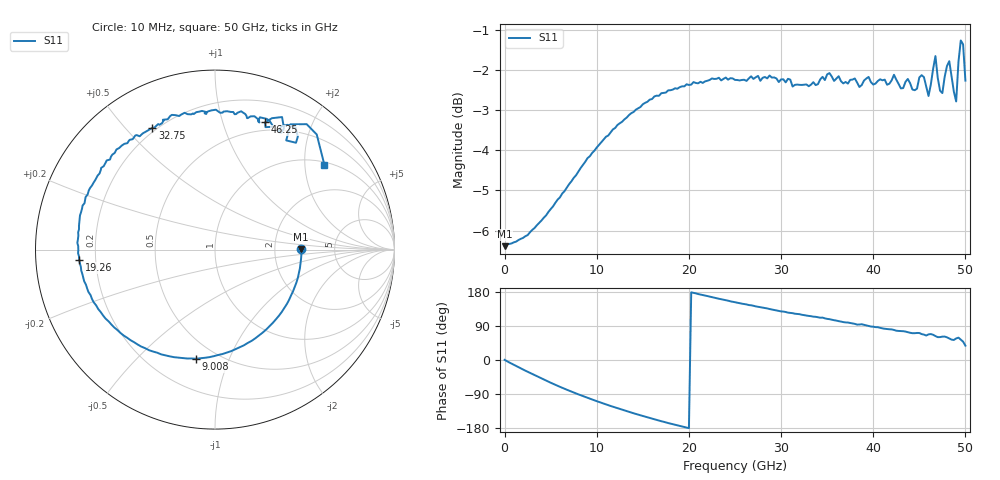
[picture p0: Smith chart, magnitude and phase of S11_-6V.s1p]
!Agilent Technologies,N5227A,US51270434,A.10.00.00
!Agilent N5227A: A.10.00.00
!Date: Thursday, February 26, 2026 12:32:49
!Correction: S11(Full 1 Port(1))
!S1P File: Measurement: S11:
# Hz S  dB  R 50
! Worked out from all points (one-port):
!   201 points, 10 MHz to 50 GHz, reference 50 ohm
!   lowest |S11| = -6.4 dB at 10 MHz (marker M1), VSWR 2.84, Z = 142 + j1.19 ohm
!   |S11| at or under -10 dB: nowhere
!   S11 on the Smith chart (normalised r, x): 10 MHz: 2.84, +0.02; 9.008 GHz: 0.39, -0.76; 19.26 GHz: 0.14, -0.04; 32.75 GHz: 0.18, +0.59; 46.25 GHz: 0.41, +1.39; 50 GHz: 1.08, +2.51
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1e7  -6.39 0.4
3.0094e9  -5.98 -37.0
6.25875e9  -5.08 -73.4
9.0082e9  -4.19 -99.8
1.25075e10  -3.32 -129.3
1.575685e10  -2.73 -153.1
1.875625e10  -2.46 -172.6
1.925615e10  -2.40 -175.6
2.25055e10  -2.20 165.8
2.5005e10  -2.24 152.5
2.875425e10  -2.13 134.5
3.125375e10  -2.40 123.6
3.275345e10  -2.35 117.3
3.45031e10  -2.16 111.9
3.75025e10  -2.24 97.7
4.375125e10  -2.22 73.5
4.5001e10  -2.18 71.3
4.575085e10  -2.41 64.6
4.625075e10  -2.35 68.5
4.675065e10  -1.64 63.2
4.725055e10  -2.51 60.4
4.80004e10  -1.89 59.8
4.875025e10  -2.53 52.8
4.90002e10  -2.78 56.9
4.925015e10  -1.78 59.0
4.95001e10  -1.25 53.8
4.975005e10  -1.35 48.5
5e10  -2.26 37.8
